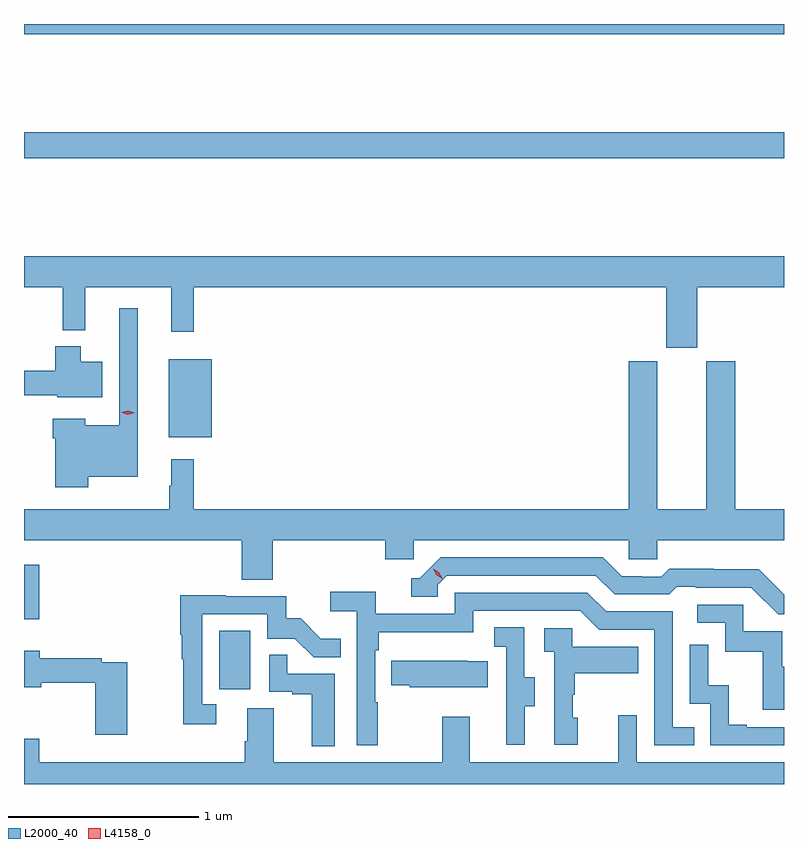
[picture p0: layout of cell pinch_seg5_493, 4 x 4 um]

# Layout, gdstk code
import gdstk
lib = gdstk.Library(unit=1e-6, precision=1e-09)
def R(c, l, rs):  # rectangles x0, y0, x1, y1
    for r in rs: c.add(gdstk.rectangle(r[:2], r[2:], *l))
def P(c, l, *ps):  # polygons
    for p in ps: c.add(gdstk.Polygon(p, *l))
L2000_40 = (2000, 40)
L4158_0 = (4158, 0)

pinch_seg5_493 = lib.new_cell('pinch_seg5_493')
R(pinch_seg5_493, L2000_40, [(905.024,849.318,905.188,849.625), (903.996,849.686,904.076,849.973), (904.757,850.643,904.984,851.053), (903.996,852.112,907.996,852.248), (903.996,852.764,907.996,852.818)])
P(pinch_seg5_493, L2000_40, [(907.54,851.432),(907.996,851.432),(907.996,851.596),(903.996,851.596),(903.996,851.432),(904.201,851.432),(904.201,851.207),(904.319,851.207),(904.319,851.432),(904.772,851.432),(904.772,851.199),(904.889,851.199),(904.889,851.432),(907.376,851.432),(907.376,851.115),(907.54,851.115)],
  [(904.335,850.436),(904.594,850.436),(904.594,851.323),(904.497,851.323),(904.497,850.705),(904.318,850.705),(904.318,850.741),(904.148,850.741),(904.148,850.637),(904.16,850.637),(904.16,850.379),(904.335,850.379)],
  [(904.408,851.041),(904.294,851.041),(904.294,851.122),(904.16,851.122),(904.16,850.993),(903.996,850.993),(903.996,850.864),(904.172,850.864),(904.172,850.853),(904.408,850.853)],
  [(907.996,850.264),(907.739,850.264),(907.739,851.043),(907.586,851.043),(907.586,850.264),(907.33,850.264),(907.33,851.043),(907.178,851.043),(907.178,850.264),(904.889,850.264),(904.889,850.528),(904.772,850.528),(904.772,850.388),(904.761,850.388),(904.761,850.264),(903.996,850.264),(903.996,850.1),(905.141,850.1),(905.141,849.892),(905.306,849.892),(905.306,850.1),(905.897,850.1),(905.897,850.002),(906.048,850.002),(906.048,850.1),(907.179,850.1),(907.179,850.002),(907.329,850.002),(907.329,850.1),(907.996,850.1)],
  [(907.996,849.815),(907.862,849.949),(907.626,849.949),(907.626,849.952),(907.393,849.952),(907.351,849.909),(907.248,849.909),(907.248,849.912),(907.141,849.912),(907.042,850.011),(906.189,850.011),(906.078,849.9),(906.035,849.9),(906.035,849.804),(906.174,849.804),(906.174,849.867),(906.222,849.915),(907.005,849.915),(907.104,849.816),(907.393,849.816),(907.432,849.855),(907.531,849.855),(907.531,849.852),(907.824,849.852),(907.965,849.711),(907.996,849.711)],
  [(905.857,849.248),(905.844,849.248),(905.844,849.521),(905.864,849.521),(905.864,849.617),(906.36,849.617),(906.36,849.729),(906.924,849.729),(907.023,849.63),(907.314,849.63),(907.314,849.021),(907.523,849.021),(907.523,849.117),(907.41,849.117),(907.41,849.726),(907.06,849.726),(906.961,849.825),(906.264,849.825),(906.264,849.714),(905.846,849.714),(905.846,849.83),(905.607,849.83),(905.607,849.728),(905.748,849.728),(905.748,849.021),(905.857,849.021)],
  [(905.008,849.237),(904.935,849.237),(904.935,849.711),(905.277,849.711),(905.277,849.582),(905.422,849.582),(905.52,849.484),(905.663,849.484),(905.663,849.583),(905.559,849.583),(905.452,849.69),(905.376,849.69),(905.376,849.807),(905.057,849.807),(905.057,849.812),(904.819,849.812),(904.819,849.604),(904.827,849.604),(904.827,849.474),(904.834,849.474),(904.834,849.132),(905.008,849.132)],
  [(907.996,849.435),(907.987,849.435),(907.987,849.621),(907.782,849.621),(907.782,849.762),(907.539,849.762),(907.539,849.666),(907.686,849.666),(907.686,849.513),(907.885,849.513),(907.885,849.21),(907.996,849.21)],
  [(906.631,849.226),(906.685,849.226),(906.685,849.381),(906.63,849.381),(906.63,849.644),(906.471,849.644),(906.471,849.541),(906.534,849.541),(906.534,849.237),(906.533,849.237),(906.533,849.024),(906.631,849.024)],
  [(906.91,849.168),(906.885,849.168),(906.885,849.287),(906.895,849.287),(906.895,849.401),(907.229,849.401),(907.229,849.541),(906.882,849.541),(906.882,849.639),(906.735,849.639),(906.735,849.515),(906.786,849.515),(906.786,849.024),(906.91,849.024)],
  [(907.996,849.117),(907.801,849.117),(907.801,849.13),(907.706,849.13),(907.706,849.338),(907.596,849.338),(907.596,849.55),(907.5,849.55),(907.5,849.24),(907.608,849.24),(907.608,849.021),(907.996,849.021)],
  [(904.54,849.459),(904.406,849.459),(904.406,849.479),(904.078,849.479),(904.078,849.52),(903.996,849.52),(903.996,849.326),(904.086,849.326),(904.086,849.351),(904.37,849.351),(904.37,849.078),(904.54,849.078)],
  [(905.632,849.399),(905.381,849.399),(905.381,849.497),(905.286,849.497),(905.286,849.303),(905.407,849.303),(905.407,849.291),(905.51,849.291),(905.51,849.017),(905.632,849.017)],
  [(906.437,849.463),(906.329,849.463),(906.329,849.466),(905.929,849.466),(905.929,849.337),(906.027,849.337),(906.027,849.326),(906.437,849.326)],
  [(907.996,848.932),(907.221,848.932),(907.221,849.181),(907.124,849.181),(907.124,848.932),(906.343,848.932),(906.343,849.172),(906.196,849.172),(906.196,848.932),(905.311,848.932),(905.311,849.218),(905.171,849.218),(905.171,849.044),(905.159,849.044),(905.159,848.932),(904.076,848.932),(904.076,849.056),(903.996,849.056),(903.996,848.818),(907.996,848.818)])
P(pinch_seg5_493, L4158_0, [(906.196,849.899),(906.165,849.919),(906.149,849.951),(906.149,849.952),(906.15,849.952),(906.18,849.932),(906.196,849.9),(906.196,849.899)],
  [(904.543,850.762),(904.508,850.774),(904.507,850.774),(904.508,850.774),(904.544,850.782),(904.579,850.771),(904.579,850.771),(904.579,850.771)])

lib.write_gds('pinch_seg5_493.gds')
